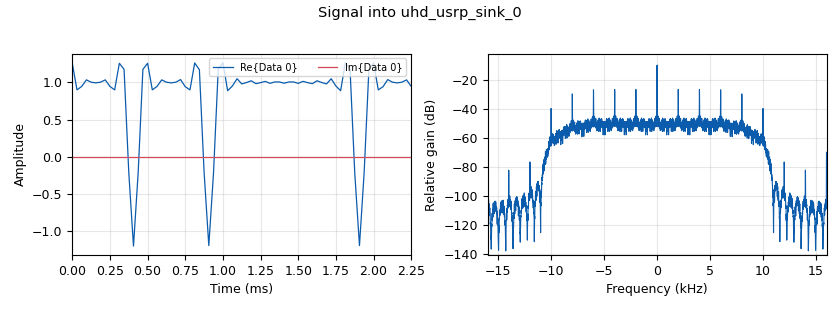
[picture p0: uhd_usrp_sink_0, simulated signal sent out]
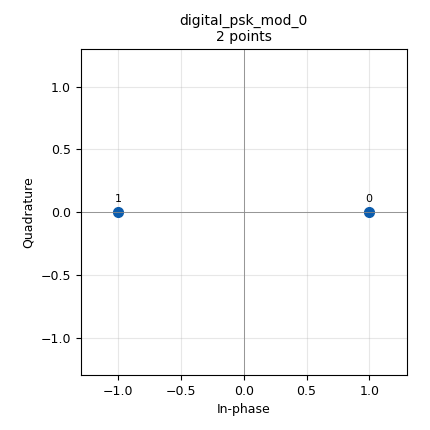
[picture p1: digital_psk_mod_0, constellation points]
<?xml version='1.0' encoding='utf-8'?>
<?grc format='1' created='3.7.13'?>
<flow_graph>
<block>
<key>options</key>
<param><key>id</key><value>TVWS</value></param>
<param><key>author</key><value>Mario Castaneda</value></param>
<param><key>description</key><value>Prueba piloto del protocolo PAWS</value></param>
<param><key>generate_options</key><value>no_gui</value></param>
<param><key>title</key><value>Transmision simulando un TVWS</value></param>
</block>
<block>
<key>variable</key>
<param><key>id</key><value>freq</value></param>
<param><key>value</key><value>0</value></param>
</block>
<block>
<key>variable</key>
<param><key>id</key><value>samp_rate</value></param>
<param><key>value</key><value>32000</value></param>
</block>
<block>
<key>analog_random_source_x</key>
<param><key>id</key><value>analog_random_source_x_0</value></param>
<param><key>max</key><value>2</value></param>
<param><key>min</key><value>0</value></param>
<param><key>num_samps</key><value>1000</value></param>
<param><key>type</key><value>byte</value></param>
<param><key>repeat</key><value>True</value></param>
</block>
<block>
<key>digital_psk_mod</key>
<param><key>id</key><value>digital_psk_mod_0</value></param>
<param><key>differential</key><value>False</value></param>
<param><key>excess_bw</key><value>0.35</value></param>
<param><key>mod_code</key><value>"none"</value></param>
<param><key>constellation_points</key><value>2</value></param>
<param><key>samples_per_symbol</key><value>2</value></param>
</block>
<block>
<key>uhd_usrp_sink</key>
<param><key>id</key><value>uhd_usrp_sink_0</value></param>
<param><key>ant0</key><value>TX/RX</value></param>
<param><key>center_freq0</key><value>freq</value></param>
<param><key>norm_gain0</key><value>False</value></param>
<param><key>gain0</key><value>70</value></param>
<param><key>clock_rate</key><value>0.0</value></param>
<param><key>dev_args</key><value>""</value></param>
<param><key>type</key><value>fc32</value></param>
<param><key>samp_rate</key><value>samp_rate</value></param>
<param><key>hide_cmd_port</key><value>False</value></param>
<param><key>hide_lo_controls</key><value>True</value></param>
<param><key>sync</key><value></value></param>
<param><key>len_tag_name</key><value></value></param>
</block>
<connection><source_block_id>analog_random_source_x_0</source_block_id><sink_block_id>digital_psk_mod_0</sink_block_id><source_key>0</source_key><sink_key>0</sink_key></connection>
<connection><source_block_id>digital_psk_mod_0</source_block_id><sink_block_id>uhd_usrp_sink_0</sink_block_id><source_key>0</source_key><sink_key>0</sink_key></connection>
</flow_graph>
